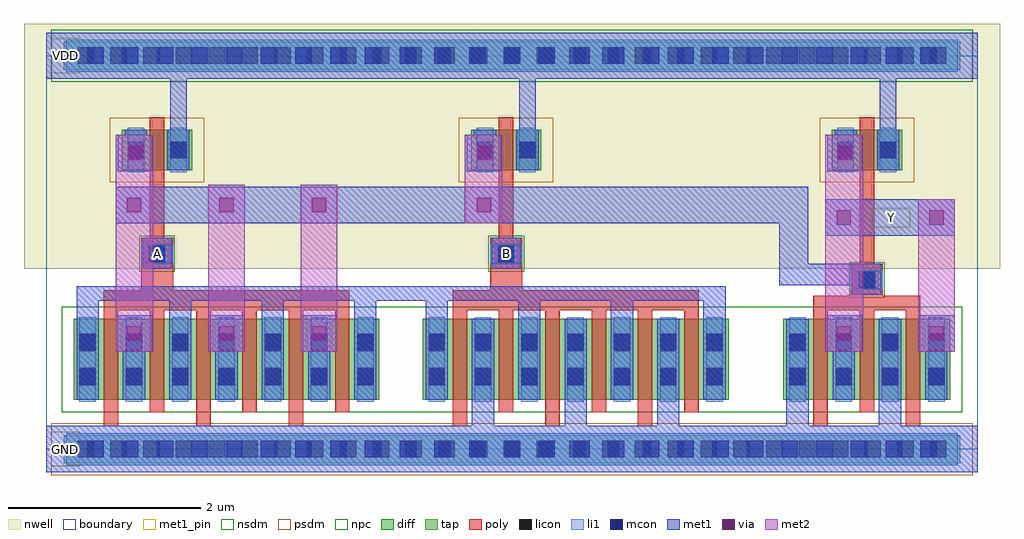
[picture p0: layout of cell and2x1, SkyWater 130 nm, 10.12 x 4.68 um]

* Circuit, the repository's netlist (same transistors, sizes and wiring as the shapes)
** sch_path: /foss/designs/and2x1.sch
.subckt and2x1 A B VDD GND Y
*.PININFO A:I B:I VDD:B GND:B Y:O
XM2 net1 A net2 GND sky130_fd_pr__nfet_01v8 L=0.15 W=5.04 nf=6
XM3 net1 A VDD VDD sky130_fd_pr__pfet_01v8 L=0.15 W=0.42 nf=1
XM5 Y net1 GND GND sky130_fd_pr__nfet_01v8 L=0.15 W=2.52 nf=3
XM4 net1 B VDD VDD sky130_fd_pr__pfet_01v8 L=0.15 W=0.42 nf=1
XM6 Y net1 VDD VDD sky130_fd_pr__pfet_01v8 L=0.15 W=0.42 nf=1
XM1 net2 B GND GND sky130_fd_pr__nfet_01v8 L=0.15 W=5.04 nf=6
.ends

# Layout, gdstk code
import gdstk
lib = gdstk.Library(unit=1e-6, precision=1e-09)
def R(c, l, rs):  # rectangles x0, y0, x1, y1
    for r in rs: c.add(gdstk.rectangle(r[:2], r[2:], *l))
def A(c, l, x, y, w, h, nx, ny, dx, dy):  # array of equal rectangles
    R(c, l, [(x+i*dx, y+j*dy, x+i*dx+w, y+j*dy+h) for i in range(nx) for j in range(ny)])
nwell = (64, 20)
diff = (65, 20)
tap = (65, 44)
poly = (66, 20)
licon = (66, 44)
li1 = (67, 20)
mcon = (67, 44)
met1_pin = (68, 16)
met1 = (68, 20)
via = (68, 44)
met2 = (69, 20)
nsdm = (93, 44)
psdm = (94, 20)
npc = (95, 20)
boundary = (235, 4)

sky130_fd_pr__pfet_01v8_ = lib.new_cell('sky130_fd_pr__pfet_01v8_YNU6YZ')
R(sky130_fd_pr__pfet_01v8_, nwell, [(-0.545,-0.52,0.545,0.52)])
R(sky130_fd_pr__pfet_01v8_, diff, [(-0.365,-0.21,0.365,0.21)])
R(sky130_fd_pr__pfet_01v8_, poly, [(-0.075,-0.34,0.075,0.34)])
R(sky130_fd_pr__pfet_01v8_, licon, [(-0.305,-0.085,-0.135,0.085), (0.135,-0.085,0.305,0.085)])
R(sky130_fd_pr__pfet_01v8_, li1, [(-0.305,-0.23,-0.135,0.23), (0.135,-0.23,0.305,0.23)])
R(sky130_fd_pr__pfet_01v8_, mcon, [(-0.305,-0.085,-0.135,0.085), (0.135,-0.085,0.305,0.085)])
R(sky130_fd_pr__pfet_01v8_, met1, [(-0.335,-0.21,-0.105,0.21), (0.105,-0.21,0.335,0.21)])
R(sky130_fd_pr__pfet_01v8_, psdm, [(-0.49,-0.335,0.49,0.335)])
sky130_fd_pr__pfet_01v8_.add(gdstk.Label('D', (-0.22,0), layer=67, texttype=5))
sky130_fd_pr__pfet_01v8_.add(gdstk.Label('S', (0.22,0), layer=67, texttype=5))

sky130_fd_pr__nfet_01v8_ = lib.new_cell('sky130_fd_pr__nfet_01v8_RPKUUV')
R(sky130_fd_pr__nfet_01v8_, diff, [(-0.865,-0.42,0.865,0.42)])
R(sky130_fd_pr__nfet_01v8_, poly, [(-0.555,-0.695,-0.405,0.55), (0.405,-0.695,0.555,0.55), (-0.075,-0.55,0.075,0.695)])
A(sky130_fd_pr__nfet_01v8_, licon, -0.805, -0.255, 0.17, 0.17, 4, 2, 0.48, 0.34)
A(sky130_fd_pr__nfet_01v8_, li1, -0.805, -0.44, 0.17, 0.88, 4, 1, 0.48, 0)
A(sky130_fd_pr__nfet_01v8_, mcon, -0.805, -0.265, 0.17, 0.17, 4, 2, 0.48, 0.36)
A(sky130_fd_pr__nfet_01v8_, met1, -0.835, -0.42, 0.23, 0.84, 4, 1, 0.48, 0)
R(sky130_fd_pr__nfet_01v8_, nsdm, [(-0.99,-0.545,0.99,0.545)])
sky130_fd_pr__nfet_01v8_.add(gdstk.Label('D0', (-0.72,0), layer=67, texttype=5))
sky130_fd_pr__nfet_01v8_.add(gdstk.Label('S1', (-0.24,0), layer=67, texttype=5))
sky130_fd_pr__nfet_01v8_.add(gdstk.Label('D2', (0.24,0), layer=67, texttype=5))
sky130_fd_pr__nfet_01v8_.add(gdstk.Label('S2', (0.72,0), layer=67, texttype=5))

c_sky130_fd_pr__nfet_01v8_ = lib.new_cell('sky130_fd_pr__nfet_01v8_6WXBLA')
R(c_sky130_fd_pr__nfet_01v8_, diff, [(-1.585,-0.42,1.585,0.42)])
A(c_sky130_fd_pr__nfet_01v8_, poly, -1.275, -0.695, 0.15, 1.245, 3, 1, 0.96, 0)
A(c_sky130_fd_pr__nfet_01v8_, poly, -0.795, -0.55, 0.15, 1.245, 3, 1, 0.96, 0)
A(c_sky130_fd_pr__nfet_01v8_, licon, -1.525, -0.255, 0.17, 0.17, 7, 2, 0.48, 0.34)
A(c_sky130_fd_pr__nfet_01v8_, li1, -1.525, -0.44, 0.17, 0.88, 7, 1, 0.48, 0)
A(c_sky130_fd_pr__nfet_01v8_, mcon, -1.525, -0.265, 0.17, 0.17, 7, 2, 0.48, 0.36)
A(c_sky130_fd_pr__nfet_01v8_, met1, -1.555, -0.42, 0.23, 0.84, 7, 1, 0.48, 0)
R(c_sky130_fd_pr__nfet_01v8_, nsdm, [(-1.71,-0.545,1.71,0.545)])
c_sky130_fd_pr__nfet_01v8_.add(gdstk.Label('D0', (-1.44,0), layer=67, texttype=5))
c_sky130_fd_pr__nfet_01v8_.add(gdstk.Label('S1', (-0.96,0), layer=67, texttype=5))
c_sky130_fd_pr__nfet_01v8_.add(gdstk.Label('D2', (-0.48,0), layer=67, texttype=5))
c_sky130_fd_pr__nfet_01v8_.add(gdstk.Label('S3', (0,0), layer=67, texttype=5))
c_sky130_fd_pr__nfet_01v8_.add(gdstk.Label('D4', (0.48,0), layer=67, texttype=5))
c_sky130_fd_pr__nfet_01v8_.add(gdstk.Label('S5', (0.96,0), layer=67, texttype=5))

and2x1 = lib.new_cell('and2x1')
R(and2x1, nwell, [(-0.23,1.87,9.89,4.41)])
R(and2x1, tap, [(0.18,-0.145,9.48,0.145), (0.18,3.935,9.48,4.225)])
R(and2x1, poly, [(0.595,1.44,3.145,1.65), (4.215,1.44,6.765,1.65), (7.955,1.44,9.065,1.59), (8.345,1.59,8.675,1.92), (0.985,1.65,1.315,2.19), (4.605,1.65,4.935,2.19), (8.435,1.92,8.585,2.95), (1.075,2.19,1.225,2.95), (4.695,2.19,4.845,2.95)])
A(and2x1, licon, 0.325, -0.085, 0.17, 0.17, 27, 2, 0.34, 4.08)
R(and2x1, licon, [(8.425,1.67,8.595,1.84), (1.065,1.94,1.235,2.11), (4.685,1.94,4.855,2.11)])
R(and2x1, li1, [(0.21,-0.165,9.45,0.165), (8.345,1.66,8.675,1.85), (0.985,1.93,1.315,2.12), (4.605,1.93,4.935,2.12), (0.21,3.915,9.45,4.245)])
A(and2x1, mcon, 0.425, -0.085, 0.17, 0.17, 25, 2, 0.36, 4.08)
R(and2x1, mcon, [(8.425,1.67,8.595,1.84), (1.065,1.94,1.235,2.11), (4.685,1.94,4.855,2.11)])
R(and2x1, met1_pin, [(0.05,-0.18,0.35,0.18), (1,1.87,1.3,2.19), (4.62,1.87,4.92,2.19), (8.56,2.3,8.96,2.5), (0.05,3.9,0.35,4.26)])
A(and2x1, met1, 4.415, 0.24, 0.23, 0.36, 3, 1, 0.96, 0)
A(and2x1, met1, 0.72, 1.01, 0.38, 0.38, 3, 1, 0.96, 0)
A(and2x1, met1, 0.315, 1.25, 0.23, 0.29, 4, 1, 0.96, 0)
A(and2x1, met1, 3.935, 1.25, 0.23, 0.29, 4, 1, 0.96, 0)
R(and2x1, met1, [(0,-0.24,9.66,0.24), (7.675,0.24,7.905,0.6), (8.635,0.24,8.865,0.6), (8.08,1.01,8.46,1.39), (9.04,1.01,9.42,1.39), (0.315,1.54,7.045,1.69), (8.36,1.6,8.66,1.7), (7.6,1.7,8.66,1.92), (1,1.87,1.3,2.19), (4.62,1.87,4.92,2.19), (7.6,1.92,7.9,2.34), (8.08,2.21,9.42,2.59), (0.72,2.34,7.9,2.72), (0.74,2.88,1.1,3.26), (4.36,2.88,4.72,3.26), (8.1,2.88,8.46,3.26), (1.285,3.25,1.455,3.84), (4.905,3.25,5.075,3.84), (8.645,3.25,8.815,3.84), (0,3.84,9.66,4.32)])
A(and2x1, via, 0.835, 1.125, 0.15, 0.15, 3, 2, 0.96, 1.33)
R(and2x1, via, [(8.195,1.125,8.345,1.275), (9.155,1.125,9.305,1.275), (8.195,2.325,8.345,2.475), (9.155,2.325,9.305,2.475), (4.465,2.455,4.615,2.605), (0.845,2.995,0.995,3.145), (4.465,2.995,4.615,3.145), (8.205,2.995,8.355,3.145)])
R(and2x1, met2, [(0.72,1.01,1.11,3.26), (1.68,1.01,2.06,2.74), (2.64,1.01,3.02,2.74), (8.08,1.01,8.47,3.26), (9.04,1.01,9.42,2.59), (4.34,2.34,4.73,3.26)])
R(and2x1, nsdm, [(3.58,0.385,3.78,1.475), (7.2,0.385,7.52,1.475), (0.055,3.81,9.605,4.35)])
R(and2x1, psdm, [(0.055,-0.27,9.605,0.27)])
R(and2x1, npc, [(8.325,1.57,8.695,1.94), (0.965,1.84,1.335,2.21), (4.585,1.84,4.955,2.21)])
R(and2x1, boundary, [(0,0,9.66,4.08)])
and2x1.add(gdstk.Reference(sky130_fd_pr__pfet_01v8_, (8.51,3.1)))
and2x1.add(gdstk.Reference(sky130_fd_pr__nfet_01v8_, (8.51,0.93)))
and2x1.add(gdstk.Reference(sky130_fd_pr__pfet_01v8_, (4.77,3.1)))
and2x1.add(gdstk.Reference(sky130_fd_pr__pfet_01v8_, (1.15,3.1)))
and2x1.add(gdstk.Reference(c_sky130_fd_pr__nfet_01v8_, (5.49,0.93)))
and2x1.add(gdstk.Reference(c_sky130_fd_pr__nfet_01v8_, (1.87,0.93)))
and2x1.add(gdstk.Label('A', (1.15,2.03), layer=68, texttype=5))
and2x1.add(gdstk.Label('B', (4.77,2.03), layer=68, texttype=5))
and2x1.add(gdstk.Label('Y', (8.76,2.4), layer=68, texttype=5))
and2x1.add(gdstk.Label('VDD', (0.2,4.08), layer=68, texttype=5))
and2x1.add(gdstk.Label('GND', (0.2,0), layer=68, texttype=5))

lib.write_gds('and2x1.gds')
